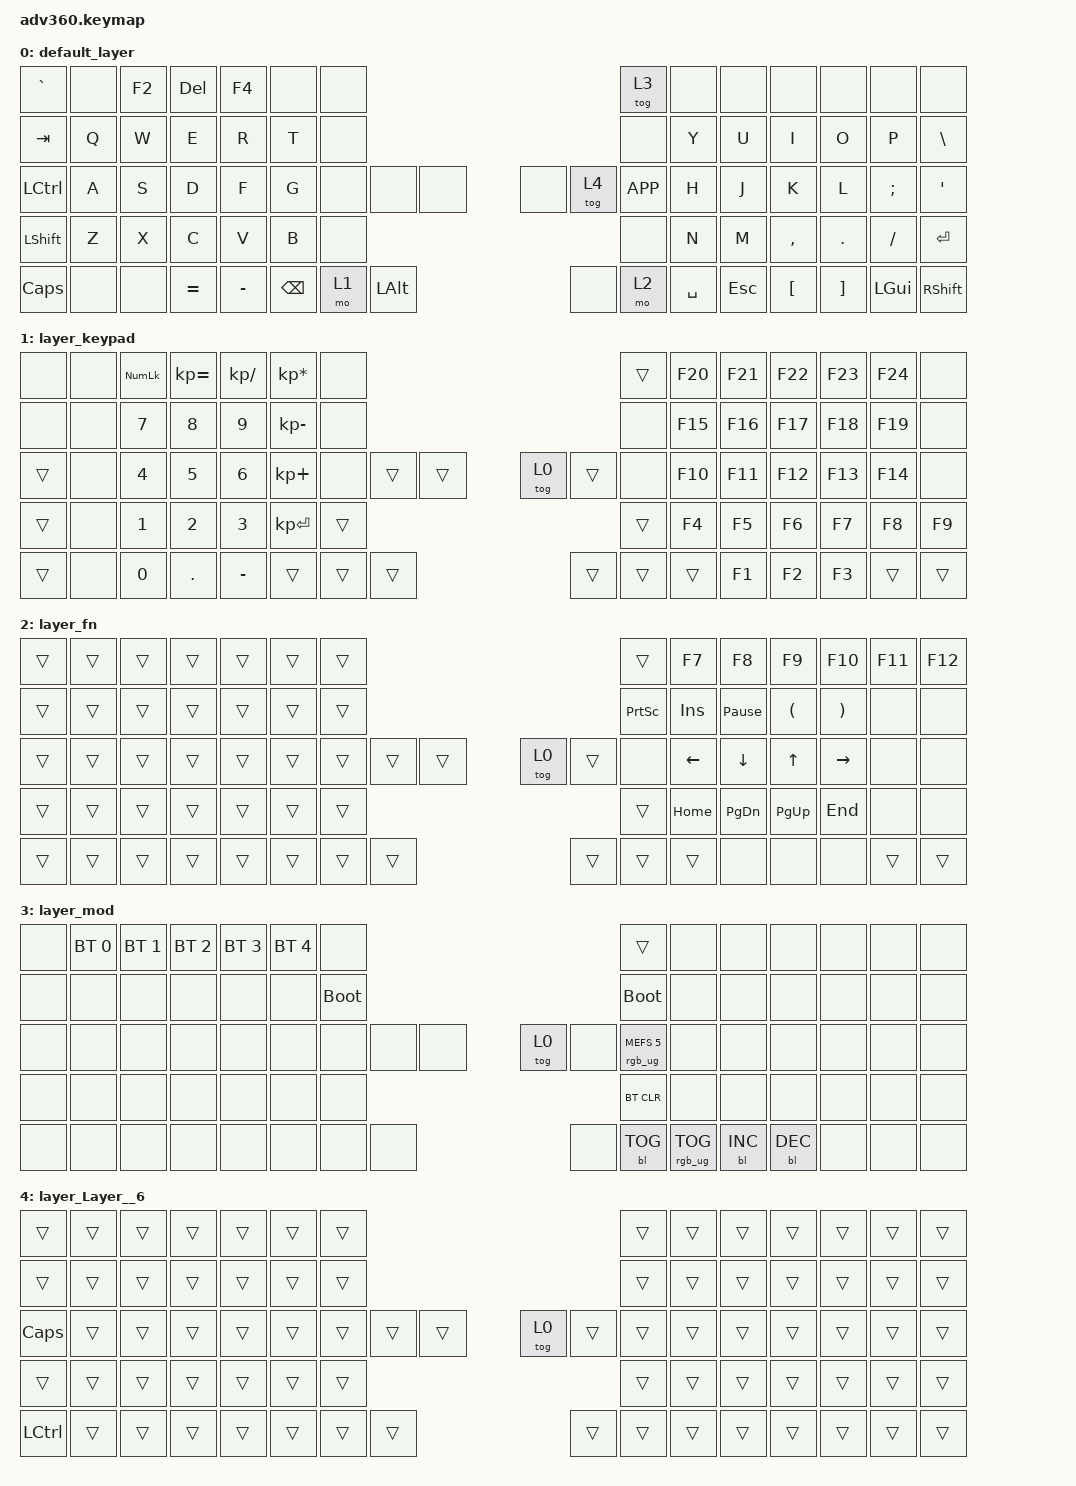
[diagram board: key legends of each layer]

/*
 * Copyright (c) 2020 The ZMK Contributors
 *
 * SPDX-License-Identifier: MIT
 */


/* THIS FILE WAS GENERATED!
 *
 * This file was generated automatically. You may or may not want to
 * edit it directly.
 */

#include <behaviors.dtsi>
#include <dt-bindings/zmk/keys.h>
#include <dt-bindings/zmk/bt.h>
#include <dt-bindings/zmk/rgb.h>
#include <dt-bindings/zmk/backlight.h>

/ {
  behaviors {
    #include "macros.dtsi"

    hm: homerow_mods {
        compatible = "zmk,behavior-hold-tap";
        label = "HOMEROW_MODS";
        #binding-cells = <2>;
        tapping-term-ms = <200>;
        quick_tap_ms = <175>;
        flavor = "tap-preferred";
        bindings = <&kp>, <&kp>;
    };
  };

    keymap {
        compatible = "zmk,keymap";


        default_layer {
            bindings = <
 &kp GRAVE   &none  &kp F2    &kp DEL     &kp F4   &none               &none                                                           &tog 3   &none    &none      &none     &none     &none            &none
   &kp TAB   &kp Q   &kp W      &kp E      &kp R   &kp T               &none                                                            &none   &kp Y    &kp U      &kp I     &kp O     &kp P         &kp BSLH
 &kp LCTRL   &kp A   &kp S      &kp D      &kp F   &kp G               &none   &none         &none                   &none  &tog 4  &kp K_APP   &kp H    &kp J      &kp K     &kp L  &kp SEMI          &kp SQT
 &kp LSHFT   &kp Z   &kp X      &kp C      &kp V   &kp B                                     &none                   &none                      &kp N    &kp M  &kp COMMA   &kp DOT  &kp FSLH        &kp ENTER
  &kp CAPS   &none   &none  &kp EQUAL  &kp MINUS                    &kp BSPC   &mo 1  &kp LEFT_ALT                   &none   &mo 2  &kp SPACE          &kp ESC   &kp LBKT  &kp RBKT  &kp LGUI  &kp RIGHT_SHIFT
            >;
        };

        layer_keypad {
            bindings = <
  &none   &none  &kp KP_NUM  &kp KP_EQUAL  &kp KP_DIVIDE  &kp KP_MULTIPLY             &none                                                  &trans  &kp F20  &kp F21  &kp F22  &kp F23  &kp F24   &none
  &none   &none      &kp N7        &kp N8         &kp N9     &kp KP_MINUS             &none                                                   &none  &kp F15  &kp F16  &kp F17  &kp F18  &kp F19   &none
 &trans   &none      &kp N4        &kp N5         &kp N6      &kp KP_PLUS             &none  &trans  &trans                  &tog 0  &trans   &none  &kp F10  &kp F11  &kp F12  &kp F13  &kp F14   &none
 &trans   &none      &kp N1        &kp N2         &kp N3     &kp KP_ENTER                            &trans                  &trans                   &kp F4   &kp F5   &kp F6   &kp F7   &kp F8  &kp F9
 &trans   &none      &kp N0       &kp DOT      &kp MINUS                             &trans  &trans  &trans                  &trans  &trans  &trans            &kp F1   &kp F2   &kp F3   &trans  &trans
            >;
        };

        layer_fn {
            bindings = <
 &trans  &trans  &trans  &trans  &trans  &trans            &trans                                                           &trans      &kp F7           &kp F8                &kp F9                &kp F10  &kp F11  &kp F12
 &trans  &trans  &trans  &trans  &trans  &trans            &trans                                                  &kp PRINTSCREEN  &kp INSERT  &kp PAUSE_BREAK  &kp LEFT_PARENTHESIS  &kp RIGHT_PARENTHESIS    &none    &none
 &trans  &trans  &trans  &trans  &trans  &trans            &trans  &trans  &trans                  &tog 0  &trans            &none    &kp LEFT         &kp DOWN                &kp UP              &kp RIGHT    &none    &none
 &trans  &trans  &trans  &trans  &trans  &trans                            &trans                  &trans                             &kp HOME    &kp PAGE_DOWN           &kp PAGE_UP                &kp END    &none    &none
 &trans  &trans  &trans  &trans  &trans                    &trans  &trans  &trans                  &trans  &trans           &trans                        &none                 &none                  &none   &trans   &trans
            >;
        };

        layer_mod {
            bindings = <
  &none  &bt BT_SEL 0  &bt BT_SEL 1  &bt BT_SEL 2  &bt BT_SEL 3  &bt BT_SEL 4                  &none                                                                          &trans   &none       &none       &none   &none   &none   &none
  &none         &none         &none         &none         &none         &none            &bootloader                                                                     &bootloader   &none       &none       &none   &none   &none   &none
  &none         &none         &none         &none         &none         &none                  &none   &none   &none                      &tog 0       &none  &rgb_ug RGB_MEFS_CMD 5   &none       &none       &none   &none   &none   &none
  &none         &none         &none         &none         &none         &none                                  &none                  &bt BT_CLR                                       &none       &none       &none   &none   &none   &none
  &none         &none         &none         &none         &none                                &none   &none   &none                       &none  &bl BL_TOG         &rgb_ug RGB_TOG          &bl BL_INC  &bl BL_DEC   &none   &none   &none
            >;
        };

        layer_Layer__6 {
            bindings = <
    &trans  &trans  &trans  &trans  &trans  &trans            &trans                                                  &trans  &trans  &trans  &trans  &trans  &trans  &trans
    &trans  &trans  &trans  &trans  &trans  &trans            &trans                                                  &trans  &trans  &trans  &trans  &trans  &trans  &trans
  &kp CAPS  &trans  &trans  &trans  &trans  &trans            &trans  &trans  &trans                  &tog 0  &trans  &trans  &trans  &trans  &trans  &trans  &trans  &trans
    &trans  &trans  &trans  &trans  &trans  &trans                            &trans                  &trans                  &trans  &trans  &trans  &trans  &trans  &trans
 &kp LCTRL  &trans  &trans  &trans  &trans                    &trans  &trans  &trans                  &trans  &trans  &trans          &trans  &trans  &trans  &trans  &trans
            >;
        };

    };
};
